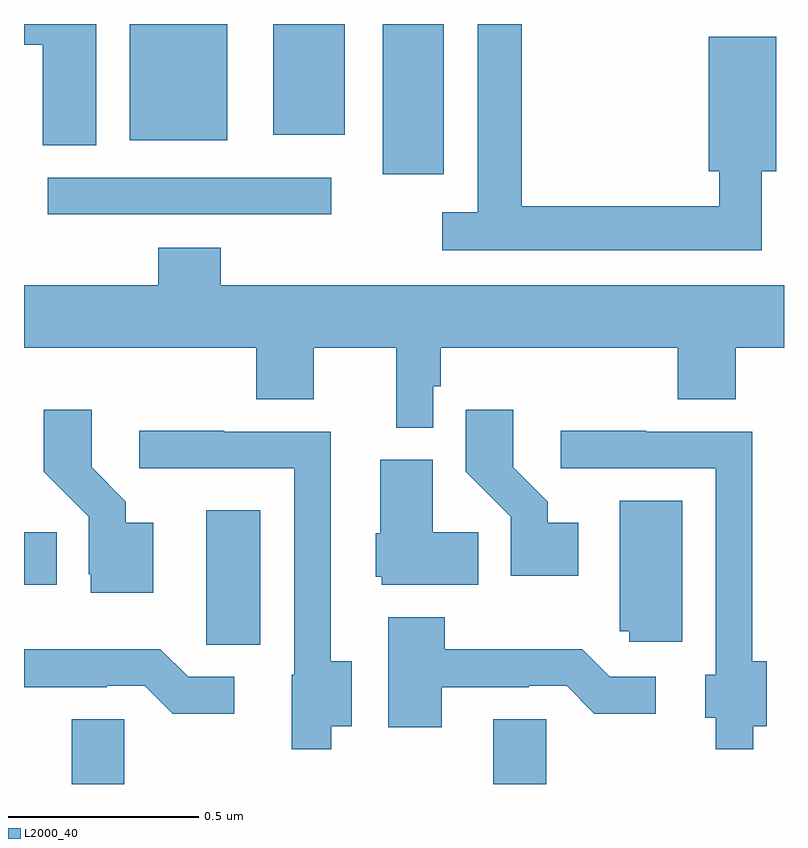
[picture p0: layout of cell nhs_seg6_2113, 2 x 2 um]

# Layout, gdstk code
import gdstk
lib = gdstk.Library(unit=1e-6, precision=1e-09)
def R(c, l, rs):  # rectangles x0, y0, x1, y1
    for r in rs: c.add(gdstk.rectangle(r[:2], r[2:], *l))
def P(c, l, *ps):  # polygons
    for p in ps: c.add(gdstk.Polygon(p, *l))
L2000_40 = (2000, 40)

nhs_seg6_2113 = lib.new_cell('nhs_seg6_2113')
R(nhs_seg6_2113, L2000_40, [(138.125,967.5,138.264,967.67), (139.235,967.5,139.374,967.67), (138,968.024,138.086,968.162), (138.063,969,138.808,969.096), (138.944,969.105,139.105,969.5), (138.278,969.194,138.535,969.5), (138.656,969.209,138.844,969.5)])
P(nhs_seg6_2113, L2000_40, [(139.942,969.113),(139.98,969.113),(139.98,969.466),(139.802,969.466),(139.802,969.113),(139.829,969.113),(139.829,969.02),(139.31,969.02),(139.31,969.5),(139.194,969.5),(139.194,969.004),(139.101,969.004),(139.101,968.904),(139.942,968.904)],
  [(138.19,969.5),(138,969.5),(138,969.446),(138.049,969.446),(138.049,969.181),(138.19,969.181)],
  [(139.077,968.547),(139.097,968.547),(139.097,968.648),(139.721,968.648),(139.721,968.512),(139.873,968.512),(139.873,968.648),(140,968.648),(140,968.812),(138.518,968.812),(138.518,968.911),(138.353,968.911),(138.353,968.812),(138,968.812),(138,968.648),(138.611,968.648),(138.611,968.512),(138.763,968.512),(138.763,968.648),(138.98,968.648),(138.98,968.438),(139.077,968.438)],
  [(139.459,968.188),(139.378,968.188),(139.378,968.243),(139.288,968.333),(139.288,968.485),(139.162,968.485),(139.162,968.322),(139.281,968.203),(139.281,968.048),(139.459,968.048)],
  [(138.34,968.188),(138.268,968.188),(138.268,968.243),(138.178,968.333),(138.178,968.485),(138.052,968.485),(138.052,968.322),(138.171,968.203),(138.171,968.052),(138.176,968.052),(138.176,968.003),(138.34,968.003)],
  [(139.919,967.652),(139.954,967.652),(139.954,967.823),(139.917,967.823),(139.917,968.427),(139.637,968.427),(139.637,968.43),(139.413,968.43),(139.413,968.331),(139.821,968.331),(139.821,967.788),(139.793,967.788),(139.793,967.674),(139.82,967.674),(139.82,967.592),(139.919,967.592)],
  [(138.808,967.652),(138.862,967.652),(138.862,967.823),(138.807,967.823),(138.807,968.427),(138.527,968.427),(138.527,968.43),(138.303,968.43),(138.303,968.331),(138.711,968.331),(138.711,967.788),(138.704,967.788),(138.704,967.592),(138.808,967.592)],
  [(139.196,968.162),(139.075,968.162),(139.075,968.353),(138.938,968.353),(138.938,968.16),(138.926,968.16),(138.926,968.046),(138.942,968.046),(138.942,968.024),(139.196,968.024)],
  [(139.732,968.246),(139.568,968.246),(139.568,967.902),(139.593,967.902),(139.593,967.875),(139.732,967.875)],
  [(138.622,968.221),(138.479,968.221),(138.479,967.978),(138.48,967.978),(138.48,967.867),(138.622,967.867)],
  [(139.099,967.755),(139.328,967.755),(139.328,967.758),(139.428,967.758),(139.501,967.685),(139.663,967.685),(139.663,967.782),(139.542,967.782),(139.469,967.855),(139.107,967.855),(139.107,967.939),(138.959,967.939),(138.959,967.65),(139.099,967.65)],
  [(138.553,967.782),(138.432,967.782),(138.359,967.855),(138,967.855),(138,967.755),(138.218,967.755),(138.218,967.758),(138.318,967.758),(138.391,967.685),(138.553,967.685)])

lib.write_gds('nhs_seg6_2113.gds')
